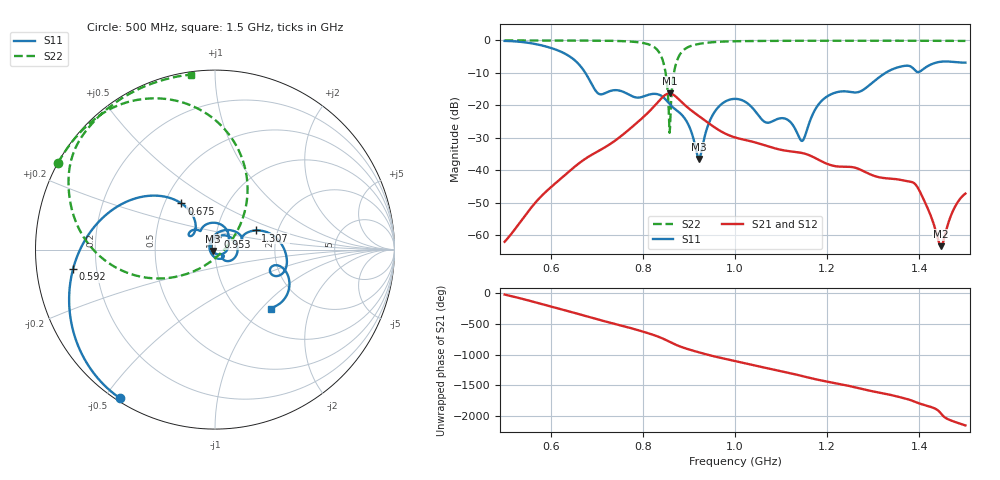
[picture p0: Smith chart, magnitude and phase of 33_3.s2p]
! TOUCHSTONE file generated by CST MICROWAVE STUDIO
! Date and time: Fri Oct  2 16:35:34 2020
! Project name: Scenario_1_Free_Space_out_of_line.cst
! Parameters = {Lambda=346.42; Step_1=17.321; dy1=-207.272; dx1=520; L_HA=400; MT=2.54; Rad_Dielectric=30; Rad_Lower=7.3; Rad_Upper=30; a_HA=580; a_WG=246; b_HA=500; b_WG=121; c_HA=0; c_WG=187; d_feed=85; h_feed=15; h_lower=18; h_upper=40}
! Header version: 2018
! Port assignment regex: !\s*Touchstone port\s*([0-9]+)\s*=\s*(CST MWS port|CST DS port)\s*([0-9]+|Zmin|Zmax)\s*\(\"(.*)\"\)(\s*mode\s*([0-9]+))?.*
! Touchstone port assignment:
! Touchstone port 1 = CST MWS port 1 ("")
! Touchstone port 2 = CST MWS port 2 ("")
# GHz S DB R 50
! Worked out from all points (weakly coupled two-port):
!   1003 points, 500 MHz to 1.5 GHz, reference 50 ohm
!   highest |S21| = -16.33 dB at 858 MHz (marker M1); lowest = -63.4 dB at 1.447 GHz (marker M2)
!   lowest |S11| = -36.6 dB at 922 MHz (marker M3), VSWR 1.03, Z = 48.8 - j0.805 ohm
!   |S11| at or under -10 dB: 675.2 MHz to 1.327 GHz (651.4 MHz wide, 65.1 % of centre)
!   |S22| runs from -28.5 to 0.0 dB; largest |S21 - S12| = 4.5e-07
!   S11 on the Smith chart (normalised r, x): 500 MHz: 0.01, -0.55; 592 MHz: 0.11, -0.07; 675 MHz: 0.61, +0.35; 953 MHz: 1.02, +0.15; 1.307 GHz: 1.54, +0.35; 1.5 GHz: 1.37, -1.14
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0.5  -0.15 -122.6  -62.02 -26.2  -62.02 -26.2  -0.01 151.1
0.592  -1.95 -172.1  -46.30 155.9  -46.30 155.9  -0.02 144.7
0.667  -8.33 131.2  -37.26 3.1  -37.26 3.1  -0.05 138.3
0.675  -9.95 126.0  -36.47 -14.0  -36.47 -14.0  -0.05 137.5
0.705  -16.49 139.0  -33.96 -76.3  -33.96 -76.3  -0.08 134.2
0.78  -17.38 129.2  -26.25 136.0  -26.25 136.0  -0.42 120.2
0.834  -16.65 83.3  -18.79 8.4  -18.79 8.4  -3.39 85.8
0.847  -17.83 59.9  -16.95 -33.1  -16.95 -33.1  -8.18 62.3
0.858  -19.59 43.0  -16.33 -73.4  -16.33 -73.4  -28.48 -31.4
0.878  -22.05 15.7  -18.13 -141.0  -18.13 -141.0  -4.93 -170.3
0.922  -36.56 -146.3  -23.34 114.9  -23.34 114.9  -1.07 157.2
0.953  -22.63 79.3  -26.52 53.9  -26.52 53.9  -0.53 148.6
1  -18.00 0.2  -29.88 -23.9  -29.88 -23.9  -0.25 140.2
1.114  -24.43 -58.3  -34.05 146.5  -34.05 146.5  -0.11 128.5
1.144  -30.90 -152.1  -34.63 94.7  -34.63 94.7  -0.11 126.0
1.167  -23.28 102.2  -35.73 52.6  -35.73 52.6  -0.10 124.2
1.203  -16.99 49.1  -38.18 -3.8  -38.18 -3.8  -0.09 121.4
1.307  -12.00 25.1  -41.95 -168.5  -41.95 -168.5  -0.08 113.5
1.334  -9.40 12.6  -42.53 150.9  -42.53 150.9  -0.09 111.4
1.393  -9.51 -22.7  -44.59 26.2  -44.59 26.2  -0.10 106.8
1.447  -6.55 -29.8  -63.38 -157.2  -63.38 -157.2  -0.11 102.5
1.5  -6.84 -46.3  -47.17 9.1  -47.17 9.1  -0.14 97.8
